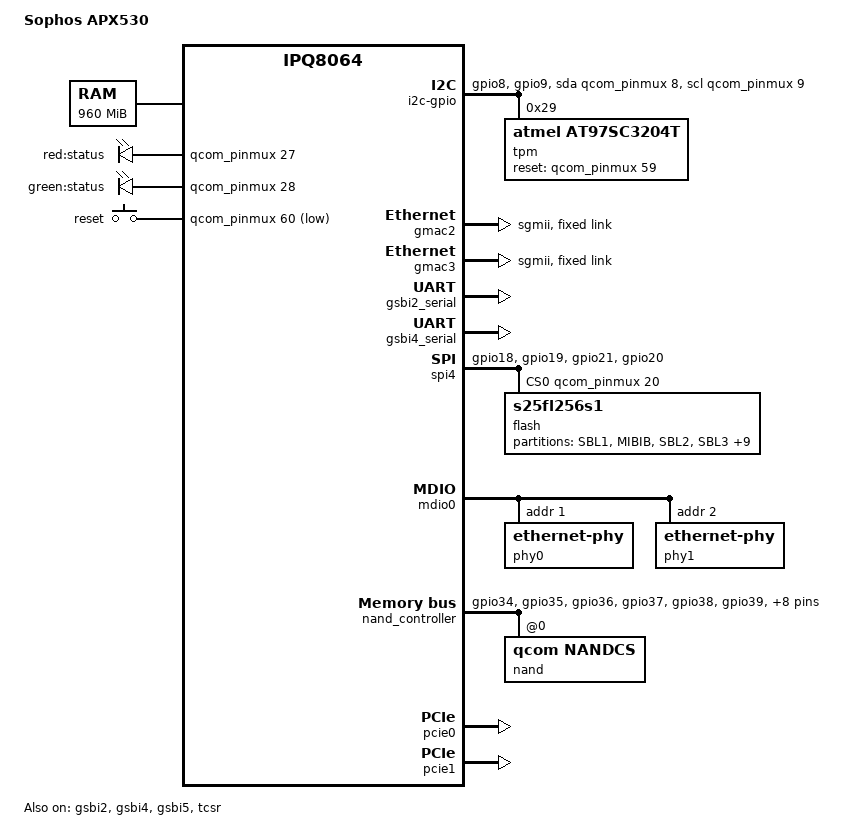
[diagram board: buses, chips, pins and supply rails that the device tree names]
// SPDX-License-Identifier: GPL-2.0-or-later OR MIT

#include "qcom-ipq8064-v2.0.dtsi"
#include <dt-bindings/interrupt-controller/arm-gic.h>
#include <dt-bindings/interrupt-controller/irq.h>
#include <dt-bindings/input/input.h>
#include <dt-bindings/gpio/gpio.h>

/ {
	model = "Sophos APX530";
	compatible = "sophos,apx530", "qcom,ipq8064";

	memory@0 {
		reg = <0x42000000 0x3C000000>;
		device_type = "memory";
	};

	reserved-memory {
		#address-cells = <1>;
		#size-cells = <1>;
		ranges;
		rsvd@41200000 {
			reg = <0x41200000 0x300000>;
			no-map;
		};
	};

	aliases {
		led-boot = &led_status_green;
		led-failsafe = &led_status_red;
		led-running = &led_status_green;
		led-upgrade = &led_status_red;

		serial0 = &gsbi4_serial;
		mdio-gpio0 = &mdio0;
		ethernet0 = &gmac3;
		ethernet1 = &gmac2;
	};

	leds {
		compatible = "gpio-leds";
		pinctrl-0 = <&led_pins>;
		pinctrl-names = "default";

		led_status_red: status_red {
			label = "red:status";
			gpios = <&qcom_pinmux 27 GPIO_ACTIVE_HIGH>;
		};

		led_status_green: status_green {
			label = "green:status";
			gpios = <&qcom_pinmux 28 GPIO_ACTIVE_HIGH>;
		};

	};

	keys {
		compatible = "gpio-keys";

		pinctrl-0 = <&button_pins>;
		pinctrl-names = "default";

		reset {
			label = "reset";
			gpios = <&qcom_pinmux 60 GPIO_ACTIVE_LOW>;
			linux,code = <KEY_RESTART>;
			debounce-interval = <60>;
			wakeup-source;
		};
	};

	i2c-gpio {
		#address-cells = <1>;
		#size-cells = <0>;

		compatible = "i2c-gpio";
		pinctrl-0 = <&i2c_pins>;
		gpios = <&qcom_pinmux 8 GPIO_ACTIVE_HIGH>, /* sda */
			<&qcom_pinmux 9 GPIO_ACTIVE_HIGH>; /* scl */
		i2c-gpio,delay-us = <2>; /* ~100kHz */


		tpm@29 {
			reg = <0x29>;
			compatible = "atmel,at97sc3204t";
			reset-gpio = <&qcom_pinmux 59 GPIO_ACTIVE_HIGH>;
		};
	};
};

&adm_dma {
	status = "okay";
};

&gmac2 {
	status = "okay";
	phy-mode = "sgmii";
	qcom,id = <2>;
	qcom,phy-mdio-addr = <1>;
	local-mac-address = [00 00 00 00 00 00];

	fixed-link {
		speed = <1000>;
		full-duplex;
	};
};

&gmac3 {
	status = "okay";
	phy-mode = "sgmii";
	qcom,id = <3>;
	qcom,phy-mdio-addr = <2>;
	local-mac-address = [00 00 00 00 00 00];

	fixed-link {
		speed = <1000>;
		full-duplex;
	};
};

&gsbi2 {
	qcom,mode = <GSBI_PROT_I2C_UART>;
	status = "okay";

	gsbi2_serial: serial@12490000 {
		status = "okay";
	};
};

&gsbi4 {
	qcom,mode = <GSBI_PROT_I2C_UART>;
	status = "okay";

	gsbi4_serial: serial@16340000 {
		status = "okay";
	};
};

&gsbi5 {
	status = "okay";
	qcom,mode = <GSBI_PROT_SPI>;

	spi4: spi@1a280000 {
		status = "okay";

		pinctrl-0 = <&spi_pins>;
		pinctrl-names = "default";
		cs-gpios = <&qcom_pinmux 20 GPIO_ACTIVE_HIGH>;

		flash: flash@0 {
			compatible = "s25fl256s1";
			#address-cells = <1>;
			#size-cells = <1>;
			reg = <0>;
			m25p,fast-read;

			partitions {
				compatible = "fixed-partitions";
				#address-cells = <1>;
				#size-cells = <1>;

				partition@0 {
					label = "SBL1";
					reg = <0x0 0x10000>;
					read-only;
				};

				partition@10000 {
					label = "MIBIB";
					reg = <0x10000 0x20000>;
					read-only;
				};

				partition@30000 {
					label = "SBL2";
					reg = <0x30000 0x30000>;
					read-only;
				};

				partition@60000 {
					label = "SBL3";
					reg = <0x60000 0x30000>;
					read-only;
				};

				partition@90000 {
					label = "DDRCONFIG";
					reg = <0x90000 0x10000>;
					read-only;
				};

				partition@a0000 {
					label = "APPSBLENV";
					reg = <0xa0000 0x10000>;
				};

				art: partition@b0000 {
					label = "ART";
					reg = <0xb0000 0x10000>;
					read-only;
				};

				partition@c0000 {
					label = "TZ";
					reg = <0xc0000 0x30000>;
					read-only;
				};

				partition@f0000 {
					label = "RPM";
					reg = <0xf0000 0x20000>;
					read-only;
				};

				partition@110000 {
					label = "APPSBL";
					reg = <0x110000 0x90000>;
					read-only;
				};

				partition@1a0000 {
					label = "stat_cfg";
					reg = <0x1a0000 0x60000>;
					read-only;
				};

				partition@200000 {
					label = "dyn_cfg";
					reg = <0x200000 0x100000>;
					read-only;
				};

				partition@300000 {
					label = "dyn_cfg_backup";
					reg = <0x300000 0x100000>;
					read-only;
				};
			};
		};
	};
};

&hs_phy_0 {
	status = "disabled";
};

&ss_phy_0 {
	status = "disabled";
};

&hs_phy_1 {
	status = "disabled";
};

&ss_phy_1 {
	status = "disabled";
};

&mdio0 {
	status = "okay";

	pinctrl-0 = <&mdio0_pins>;
	pinctrl-names = "default";

	phy0: ethernet-phy@0 {
		device_type = "ethernet-phy";
		reg = <1>;
	};

	phy1: ethernet-phy@1 {
		device_type = "ethernet-phy";
		reg = <2>;
	};
};

&nand_controller {
	status = "okay";

	pinctrl-0 = <&nand_pins>;
	pinctrl-names = "default";

	nand@0 {
		reg = <0>;
		compatible = "qcom,nandcs";

		nand-ecc-strength = <4>;
		nand-bus-width = <8>;
		nand-ecc-step-size = <512>;

		partitions {
			compatible = "qcom,smem-part";
		};
	};
};

&pcie0 {
	status = "okay";
	perst-gpio = <&qcom_pinmux 3 GPIO_ACTIVE_HIGH>;
};

&pcie1 {
	status = "okay";
	perst-gpio = <&qcom_pinmux 48 GPIO_ACTIVE_HIGH>;
};

&rpm {
	pinctrl-0 = <&i2c4_pins>;
	pinctrl-names = "default";
};

&qcom_pinmux {

	spi_pins: spi_pins {
		mux {
			pins = "gpio18", "gpio19", "gpio21";
			function = "gsbi5";
			drive-strength = <10>;
			bias-none;
		};
		cs {
			pins = "gpio20";
			drive-strength = <12>;
		};
	};

	nand_pins: nand_pins {
		mux {
			pins = "gpio34", "gpio35", "gpio36",
				"gpio37", "gpio38", "gpio39",
				"gpio40", "gpio41", "gpio42",
				"gpio43", "gpio44", "gpio45",
				"gpio46", "gpio47";
			function = "nand";
			drive-strength = <10>;
			bias-disable;
		};
		pullups {
			pins = "gpio39";
			bias-pull-up;
		};
		hold {
			pins = "gpio40", "gpio41", "gpio42",
				"gpio43", "gpio44", "gpio45",
				"gpio46", "gpio47";
			bias-bus-hold;
		};
	};

	hs_uart_pins: hs_uart_pins {
		mux {
			pins = "gpio22", "gpio23", "gpio24", "gpio25" ;
			function = "gsbi2";
			drive-strength = <12>;
			bias-disable;
		};
	};

	led_pins: led_pins {
		mux {
			pins = "gpio27", "gpio28";
			function = "gpio";
			drive-strength = <2>;
			bias-pull-down;
			output-low;
		};
	};

	button_pins: button_pins {
		mux {
			pins = "gpio60";
			function = "gpio";
			drive-strength = <2>;
			bias-pull-up;
		};
	};

	i2c_pins: i2c_pins {
		mux {
			pins = "gpio8", "gpio9";
			function = "gpio";
			drive-open-drain;
		};
	};
};

&tcsr {
	status = "okay";
};

